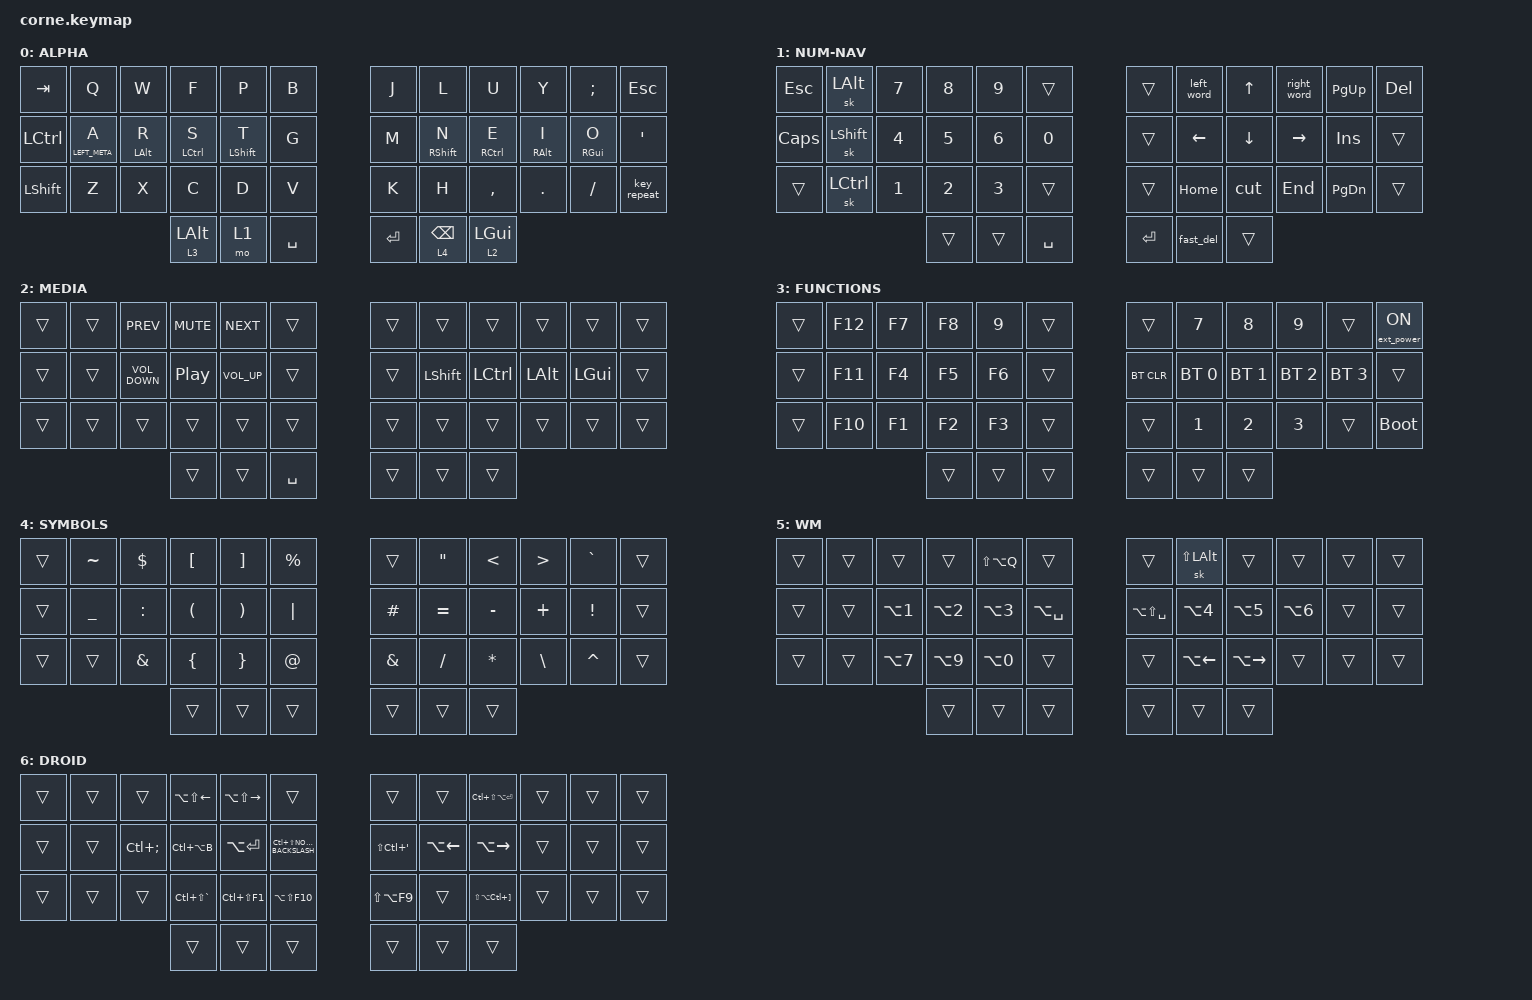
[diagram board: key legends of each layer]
/*
 * Copyright (c) 2020 The ZMK Contributors
 *
 * SPDX-License-Identifier: MIT
 */

#include <behaviors.dtsi>
#include <dt-bindings/zmk/bt.h>
#include <dt-bindings/zmk/ext_power.h>
#include <dt-bindings/zmk/keys.h>

/ {
    behaviors {
        hml: homerow_mods_left {
            compatible = "zmk,behavior-hold-tap";
            label = "HOMEROW_MODS_LEFT_HAND";
            bindings = <&kp>, <&kp>;

            #binding-cells = <2>;
            tapping-term-ms = <280>;
            hold-trigger-key-positions = <6 18 30 39 40 7 8 9 10 11 19 20 21 22 23 31 32 33 34 35 41>;
            quick-tap-ms = <175>;
            require-prior-idle-ms = <150>;
            flavor = "tap-preferred";
        };

        hmr: homerow_mods_right {
            compatible = "zmk,behavior-hold-tap";
            label = "HOMEROW_MODS_RIGHT_HAND";
            bindings = <&kp>, <&kp>;

            #binding-cells = <2>;
            tapping-term-ms = <280>;
            hold-trigger-key-positions = <0 1 2 3 4 5 12 13 14 15 16 17 24 25 26 27 28 29 36 37 38>;
            quick-tap-ms = <175>;
            require-prior-idle-ms = <150>;
            flavor = "tap-preferred";
        };
    };

    combos {
        compatible = "zmk,combos";

        Copy {
            bindings = <&kp LC(INSERT)>;
            key-positions = <3 2 4>;
            layers = <0>;
        };

        Paste {
            bindings = <&kp LS(INS)>;
            key-positions = <14 15 16>;
            layers = <0>;
        };

        Cut {
            bindings = <&kp LS(DELETE)>;
            key-positions = <26 28 27>;
            layers = <0>;
        };

        prog-less {
            bindings = <&kp LT>;
            key-positions = <32 19>;
            layers = <0>;
        };

        prog-equals {
            bindings = <&kp EQUAL>;
            key-positions = <19 21 20>;
            layers = <0>;
        };

        prog-colon {
            bindings = <&kp COLON>;
            key-positions = <7 8 9>;
            layers = <0>;
        };

        enie {
            bindings = <&kp RA(N)>;
            key-positions = <36 19>;
            layers = <0>;
        };

        enie-mac {
            bindings = <&enie_mac>;
            key-positions = <36 19 16>;
            layers = <0>;
        };

        huh {
            bindings = <&kp QUESTION>;
            key-positions = <14 15 4>;
        };

        chin {
            bindings = <&kp EXCLAMATION>;
            key-positions = <26 4 27>;
        };

        minus {
            bindings = <&kp MINUS>;
            key-positions = <19 18>;
        };

        under {
            bindings = <&kp UNDER>;
            key-positions = <31 30>;
        };

        accent {
            bindings = <&kp SINGLE_QUOTE>;
            key-positions = <16 20>;
        };

        caps {
            bindings = <&caps_word>;
            key-positions = <17 18>;
        };
    };

    macros {
        cut: cut {
            compatible = "zmk,behavior-macro";
            #binding-cells = <0>;
            bindings = <&kp LS(DEL)>;
            label = "CUT";
        };

        copy: copy {
            compatible = "zmk,behavior-macro";
            #binding-cells = <0>;
            bindings = <&kp LC(INS)>;
            label = "COPY";
        };

        paste: paste {
            compatible = "zmk,behavior-macro";
            #binding-cells = <0>;
            bindings = <&kp LS(INS)>;
            label = "PASTE";
        };

        enie_mac: enie_mac {
            compatible = "zmk,behavior-macro";
            #binding-cells = <0>;
            bindings = <&kp LA(N) &kp N &kp N>;
            label = "ENIE_MAC";
        };

        left_word: left_word {
            compatible = "zmk,behavior-macro";
            #binding-cells = <0>;
            bindings = <&kp LC(LEFT)>;
            label = "LEFT_WORD";
        };

        right_word: right_word {
            compatible = "zmk,behavior-macro";
            #binding-cells = <0>;
            bindings = <&kp LC(RIGHT)>;
            label = "RIGHT_WORD";
        };

        fast_del: fast_del {
            compatible = "zmk,behavior-macro";
            #binding-cells = <0>;
            bindings = <&kp LC(BACKSPACE)>;
            label = "FAST_DEL";
        };
    };

    keymap {
        compatible = "zmk,keymap";

        alpha {
            display-name = "ALPHA";

            // -----------------------------------------------------------------------------------------
            // |  TAB |  Q  |  W  |  E  |  R  |  T  |   |  Y  |  U   |  I  |  O  |  P  | BKSP |
            // | CTRL |  A  |  S  |  D  |  F  |  G  |   |  H  |  J   |  K  |  L  |  ;  |  '   |
            // | SHFT |  Z  |  X  |  C  |  V  |  B  |   |  N  |  M   |  ,  |  .  |  /  | ESC  |
            //                    | GUI | LWR | SPC |   | ENT | RSE  | ALT |

            bindings = <
&kp TAB    &kp Q             &kp W        &kp F                &kp P              &kp B        &kp J      &kp L               &kp U                 &kp Y             &kp SEMICOLON     &kp ESCAPE
&kp LCTRL  &hml LEFT_META A  &hml LALT R  &hml LEFT_CONTROL S  &hml LEFT_SHIFT T  &kp G        &kp M      &hmr RIGHT_SHIFT N  &hmr RIGHT_CONTROL E  &hmr RIGHT_ALT I  &hmr RIGHT_GUI O  &kp SQT
&kp LSHFT  &kp Z             &kp X        &kp C                &kp D              &kp V        &kp K      &kp H               &kp COMMA             &kp PERIOD        &kp SLASH        &key_repeat
                                          &lt 3 LEFT_ALT       &mo 1              &kp SPACE    &kp ENTER  &lt 4 BACKSPACE     &lt 2 LEFT_GUI
            >;
        };

        num-nav {
            display-name = "NUM-NAV";

            // -----------------------------------------------------------------------------------------
            // |  TAB |  1  |  2  |  3  |  4  |  5  |   |  6  |  7  |  8  |  9  |  0  | BKSP |
            // | BTCLR| BT1 | BT2 | BT3 | BT4 | BT5 |   | LFT | DWN |  UP | RGT |     |      |
            // | SHFT |     |     |     |     |     |   |     |     |     |     |     |      |
            //                    | GUI |     | SPC |   | ENT |     | ALT |

            bindings = <
&kp ESCAPE  &sk LEFT_ALT    &kp N7        &kp N8        &kp N9        &trans       &trans   &left_word      &kp UP    &right_word  &kp PAGE_UP    &kp DELETE
&kp CAPS    &sk LEFT_SHIFT  &kp NUMBER_4  &kp N5        &kp NUMBER_6  &kp N0       &trans   &kp LEFT_ARROW  &kp DOWN  &kp RIGHT    &kp INS        &trans
&trans      &sk LCTRL       &kp NUMBER_1  &kp NUMBER_2  &kp NUMBER_3  &trans       &trans   &kp HOME        &cut      &kp END      &kp PAGE_DOWN  &trans
                                          &trans        &trans        &kp SPACE    &kp RET  &fast_del       &trans
            >;
        };

        media {
            display-name = "MEDIA";

            // -----------------------------------------------------------------------------------------
            // |  TAB |  !  |  @  |  #  |  $  |  %  |   |  ^  |  &  |  *  |  (  |  )  | BKSP |
            // | CTRL |     |     |     |     |     |   |  -  |  =  |  [  |  ]  |  \  |  `   |
            // | SHFT |     |     |     |     |     |   |  _  |  +  |  {  |  }  | "|" |  ~   |
            //                    | GUI |     | SPC |   | ENT |     | ALT |

            bindings = <
&trans  &trans  &kp C_PREV         &kp C_MUTE        &kp C_NEXT       &trans       &trans  &trans          &trans            &trans        &trans        &trans
&trans  &trans  &kp C_VOLUME_DOWN  &kp C_PLAY_PAUSE  &kp C_VOLUME_UP  &trans       &trans  &kp LEFT_SHIFT  &kp LEFT_CONTROL  &kp LEFT_ALT  &kp LEFT_GUI  &trans
&trans  &trans  &trans             &trans            &trans           &trans       &trans  &trans          &trans            &trans        &trans        &trans
                                   &trans            &trans           &kp SPACE    &trans  &trans          &trans
            >;
        };

        fun {
            display-name = "FUNCTIONS";
            bindings = <
&trans  &kp F12  &kp F7  &kp F8  &kp N9  &trans    &trans      &kp N7        &kp N8        &kp N9        &trans        &ext_power EP_ON
&trans  &kp F11  &kp F4  &kp F5  &kp F6  &trans    &bt BT_CLR  &bt BT_SEL 0  &bt BT_SEL 1  &bt BT_SEL 2  &bt BT_SEL 3  &trans
&trans  &kp F10  &kp F1  &kp F2  &kp F3  &trans    &trans      &kp NUMBER_1  &kp NUMBER_2  &kp NUMBER_3  &trans        &bootloader
                         &trans  &trans  &trans    &trans      &trans        &trans
            >;

            label = "FUNCTION";
        };

        sym {
            display-name = "SYMBOLS";
            bindings = <
&trans  &kp TILDE  &kp DOLLAR     &kp LEFT_BRACKET      &kp RIGHT_BRACKET      &kp PERCENT    &trans    &kp DOUBLE_QUOTES  &kp LESS_THAN  &kp GREATER_THAN  &kp GRAVE        &trans
&trans  &kp UNDER  &kp COLON      &kp LEFT_PARENTHESIS  &kp RIGHT_PARENTHESIS  &kp PIPE       &kp HASH  &kp EQUAL          &kp MINUS      &kp PLUS          &kp EXCLAMATION  &trans
&trans  &trans     &kp AMPERSAND  &kp LEFT_BRACE        &kp RIGHT_BRACE        &kp AT_SIGN    &kp AMPS  &kp SLASH          &kp ASTERISK   &kp BACKSLASH     &kp CARET        &trans
                                  &trans                &trans                 &trans         &trans    &trans             &trans
            >;
        };

        wm {
            bindings = <
&trans  &trans  &trans            &trans            &kp LS(LA(Q))     &trans           &trans             &sk LS(LEFT_ALT)    &trans         &trans            &trans  &trans
&trans  &trans  &kp LA(NUMBER_1)  &kp LA(NUMBER_2)  &kp LA(NUMBER_3)  &kp LA(SPACE)    &kp LA(LS(SPACE))  &kp LA(NUMBER_4)    &kp LA(N5)     &kp LA(NUMBER_6)  &trans  &trans
&trans  &trans  &kp LA(N7)        &kp LA(N9)        &kp LA(N0)        &trans           &trans             &kp LA(LEFT_ARROW)  &kp LA(RIGHT)  &trans            &trans  &trans
                                  &trans            &trans            &trans           &trans             &trans              &trans
            >;

            label = "WM";
        };

        android {
            bindings = <
&trans  &trans  &trans             &kp LA(LS(LEFT_ARROW))  &kp LA(LS(RIGHT))  &trans                          &trans           &trans        &kp LC(LS(LA(ENTER)))          &trans  &trans  &trans
&trans  &trans  &kp LC(SEMICOLON)  &kp LC(LA(B))           &kp LA(ENTER)      &kp LC(LS(NON_US_BACKSLASH))    &kp LS(LC(SQT))  &kp LA(LEFT)  &kp LA(RIGHT)                  &trans  &trans  &trans
&trans  &trans  &trans             &kp LC(LS(GRAVE))       &kp LC(LS(F1))     &kp LA(LS(F10))                 &kp LS(LA(F9))   &trans        &kp LS(LA(LC(RIGHT_BRACKET)))  &trans  &trans  &trans
                                   &trans                  &trans             &trans                          &trans           &trans        &trans
            >;

            label = "DROID";
        };
    };

    conditional_layers {
        compatible = "zmk,conditional-layers";

        glaze-wm {
            if-layers = <2 3>;
            then-layer = <5>;
        };

        android-shortcuts {
            if-layers = <1 4>;
            then-layer = <6>;
        };
    };
};
